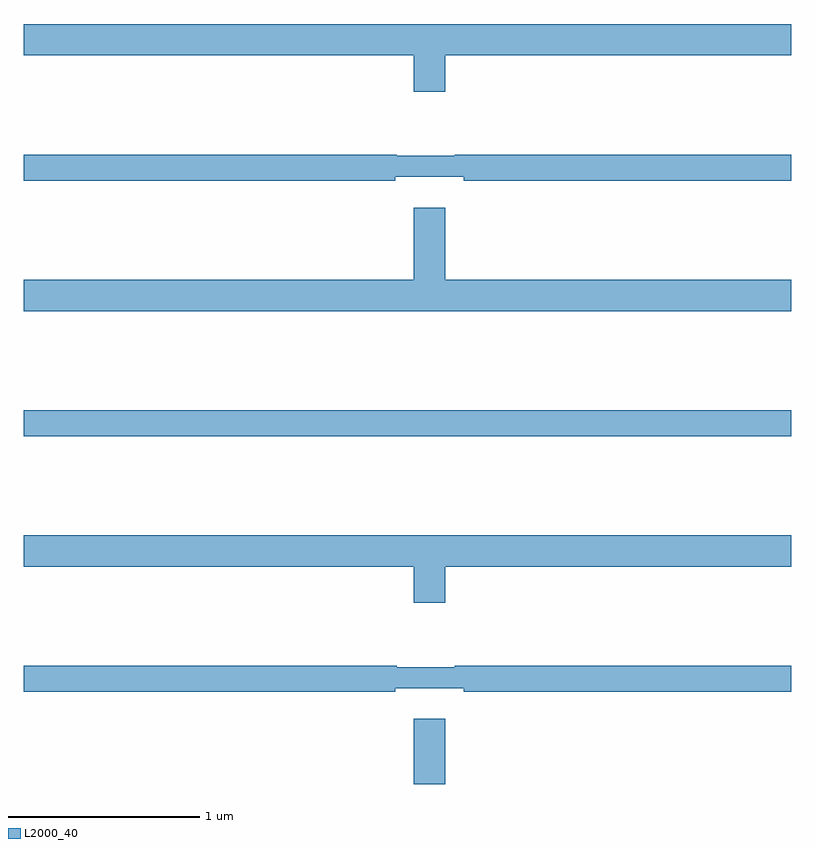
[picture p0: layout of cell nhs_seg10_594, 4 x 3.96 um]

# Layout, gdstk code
import gdstk
lib = gdstk.Library(unit=1e-6, precision=1e-09)
def R(c, l, rs):  # rectangles x0, y0, x1, y1
    for r in rs: c.add(gdstk.rectangle(r[:2], r[2:], *l))
def P(c, l, *ps):  # polygons
    for p in ps: c.add(gdstk.Polygon(p, *l))
L2000_40 = (2000, 40)

nhs_seg10_594 = lib.new_cell('nhs_seg10_594')
R(nhs_seg10_594, L2000_40, [(141.032,1316.5,141.196,1316.839), (139,1318.312,143,1318.448)])
P(nhs_seg10_594, L2000_40, [(141.196,1320.296),(143,1320.296),(143,1320.46),(139,1320.46),(139,1320.296),(141.032,1320.296),(141.032,1320.108),(141.196,1320.108)],
  [(140.936,1319.663),(141.292,1319.663),(141.292,1319.644),(143,1319.644),(143,1319.78),(141.245,1319.78),(141.245,1319.773),(140.945,1319.773),(140.945,1319.78),(139,1319.78),(139,1319.644),(140.936,1319.644)],
  [(143,1319.128),(141.196,1319.128),(141.196,1319.503),(141.032,1319.503),(141.032,1319.128),(139,1319.128),(139,1318.964),(143,1318.964)],
  [(141.196,1317.632),(143,1317.632),(143,1317.796),(139,1317.796),(139,1317.632),(141.032,1317.632),(141.032,1317.444),(141.196,1317.444)],
  [(140.936,1316.999),(141.292,1316.999),(141.292,1316.98),(143,1316.98),(143,1317.116),(141.245,1317.116),(141.245,1317.109),(140.945,1317.109),(140.945,1317.116),(139,1317.116),(139,1316.98),(140.936,1316.98)])

lib.write_gds('nhs_seg10_594.gds')
